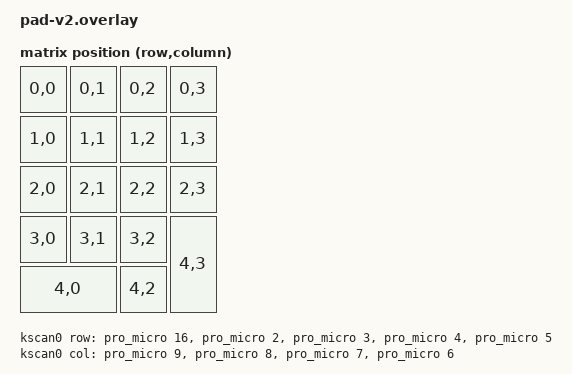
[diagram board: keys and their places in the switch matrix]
#include <dt-bindings/zmk/matrix_transform.h>
#include <physical_layouts.dtsi>

/ {
    chosen {
        zmk,kscan = &kscan0;
        zmk,physical-layout = &physical_layout0;
    };

    /*
     * Fysisk layout för ZMK Studio. Värdena är i centiunit (100 = 1u).
     *
     * Layout (18 knappar, 4 visuella kolumner × 5 visuella rader):
     *   NumLock  /        *        Del
     *   7        8        9        −
     *   4        5        6        +       <- ny rad jämfört med milpad
     *   1        2        3        Enter   (2u höjd, switch i NEDRE halvan)
     *   0 (2u bredd, switch i VÄNSTRA halvan)    .
     */
    physical_layout0: physical_layout_0 {
        compatible = "zmk,physical-layout";
        display-name = "Pad V2";
        kscan = <&kscan0>;
        transform = <&default_transform>;
        keys                              //  w   h    x    y   r  rx  ry
            = <&key_physical_attrs 100 100   0   0   0   0   0>  // NumLock
            , <&key_physical_attrs 100 100 100   0   0   0   0>  // /
            , <&key_physical_attrs 100 100 200   0   0   0   0>  // *
            , <&key_physical_attrs 100 100 300   0   0   0   0>  // Del
            , <&key_physical_attrs 100 100   0 100   0   0   0>  // 7
            , <&key_physical_attrs 100 100 100 100   0   0   0>  // 8
            , <&key_physical_attrs 100 100 200 100   0   0   0>  // 9
            , <&key_physical_attrs 100 100 300 100   0   0   0>  // -
            , <&key_physical_attrs 100 100   0 200   0   0   0>  // 4
            , <&key_physical_attrs 100 100 100 200   0   0   0>  // 5
            , <&key_physical_attrs 100 100 200 200   0   0   0>  // 6
            , <&key_physical_attrs 100 100 300 200   0   0   0>  // +
            , <&key_physical_attrs 100 100   0 300   0   0   0>  // 1
            , <&key_physical_attrs 100 100 100 300   0   0   0>  // 2
            , <&key_physical_attrs 100 100 200 300   0   0   0>  // 3
            , <&key_physical_attrs 100 200 300 300   0   0   0>  // Enter (2u tall)
            , <&key_physical_attrs 200 100   0 400   0   0   0>  // 0 (2u wide)
            , <&key_physical_attrs 100 100 200 400   0   0   0>  // .
            ;
    };

    /*
     * Matristransform — visuell position -> matrisposition (RC).
     *
     *           C0       C1       C2       C3
     *   R0:  NumLock   /         *         Del
     *   R1:  7         8         9         -
     *   R2:  4         5         6         +
     *   R3:  1         2         3         —
     *   R4:  0         —         .         Enter   <- Enter switch är här (nedre halvan)
     */
    default_transform: keymap_transform_0 {
        compatible = "zmk,matrix-transform";
        rows = <5>;
        columns = <4>;
        map = <
            RC(0,0) RC(0,1) RC(0,2) RC(0,3)
            RC(1,0) RC(1,1) RC(1,2) RC(1,3)
            RC(2,0) RC(2,1) RC(2,2) RC(2,3)
            RC(3,0) RC(3,1) RC(3,2) RC(4,3)
            RC(4,0)         RC(4,2)
        >;
    };

    kscan0: kscan {
        compatible = "zmk,kscan-gpio-matrix";
        /*
         * row2col: diodernas KATOD (svart streck) pekar mot KOLUMNEN.
         * Rader = OUTPUT, kolumner = INPUT med pull-down.
         */
        diode-direction = "row2col";
        wakeup-source;

        /*
         * RADER = de RÖDA diod-anod-trådarna (horisontella). OUTPUT.
         * R0 = röd #1 (NumLock, /, *, Del)   -> silk 010 (P0.10)  = pro_micro 16
         *      (flyttad från 006/008 — de är UART-pinnar och kan vara reserverade)
         * R1 = röd #2 (7, 8, 9, -)            -> silk 017 (P0.17)  = pro_micro 2
         * R2 = röd #3 (4, 5, 6, +)            -> silk 020 (P0.20)  = pro_micro 3
         * R3 = röd #4 (1, 2, 3)               -> silk 022 (P0.22)  = pro_micro 4
         * R4 = röd #5 (0, ., Enter)           -> silk 024 (P0.24)  = pro_micro 5
         */
        row-gpios
            = <&pro_micro 16 GPIO_ACTIVE_HIGH>
            , <&pro_micro 2  GPIO_ACTIVE_HIGH>
            , <&pro_micro 3  GPIO_ACTIVE_HIGH>
            , <&pro_micro 4  GPIO_ACTIVE_HIGH>
            , <&pro_micro 5  GPIO_ACTIVE_HIGH>
            ;

        /*
         * KOLUMNER = de SVARTA icke-diod-trådarna (vertikala). INPUT (pull-down).
         * OBS: kolumnerna är fysiskt wirade i SPEGELVÄND ordning mot vad
         * användaren rapporterade — pinnarna här är i ordning som matchar
         * den faktiska wiringen (verifierad via key-output testning).
         *
         * C0 = svart #1 (NumLock, 7, 4, 1, 0)   -> silk 106 (P1.06)  = pro_micro 9
         * C1 = svart #2 (/, 8, 5, 2)            -> silk 104 (P1.04)  = pro_micro 8
         * C2 = svart #3 (*, 9, 6, 3, .)         -> silk 011 (P0.11)  = pro_micro 7
         * C3 = svart #4 (Del, -, +, Enter)      -> silk 100 (P1.00)  = pro_micro 6
         */
        col-gpios
            = <&pro_micro 9 (GPIO_ACTIVE_HIGH | GPIO_PULL_DOWN)>
            , <&pro_micro 8 (GPIO_ACTIVE_HIGH | GPIO_PULL_DOWN)>
            , <&pro_micro 7 (GPIO_ACTIVE_HIGH | GPIO_PULL_DOWN)>
            , <&pro_micro 6 (GPIO_ACTIVE_HIGH | GPIO_PULL_DOWN)>
            ;
    };
};
